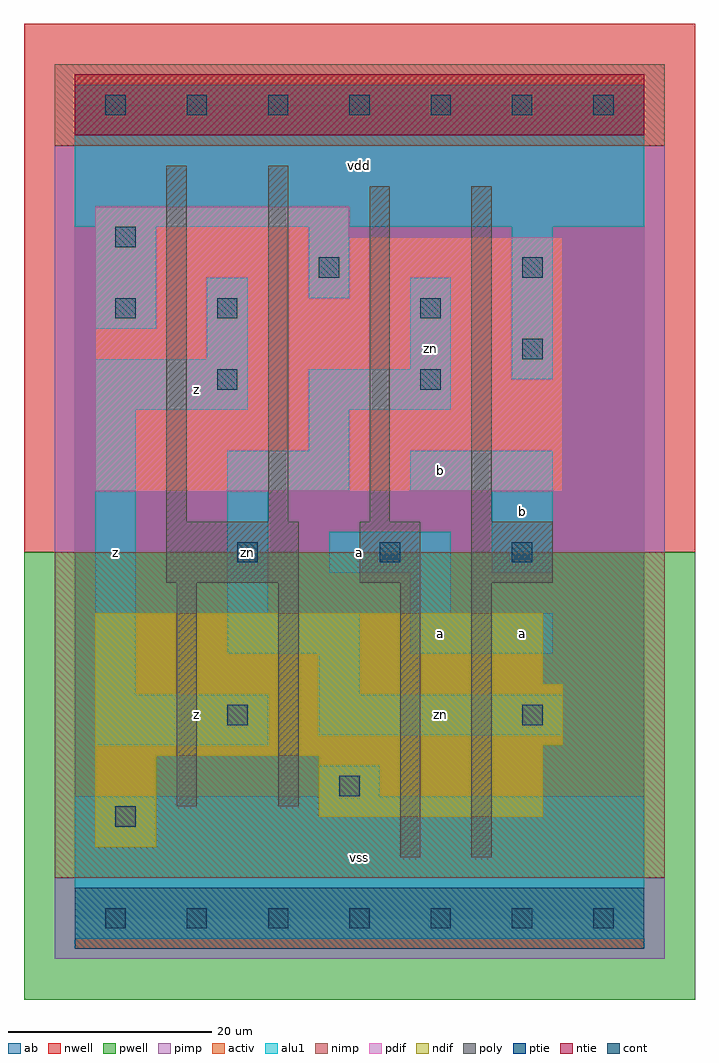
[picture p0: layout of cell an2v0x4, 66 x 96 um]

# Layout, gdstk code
import gdstk
lib = gdstk.Library(unit=1e-6, precision=1e-09)
def R(c, l, rs):  # rectangles x0, y0, x1, y1
    for r in rs: c.add(gdstk.rectangle(r[:2], r[2:], *l))
def A(c, l, x, y, w, h, nx, ny, dx, dy):  # array of equal rectangles
    R(c, l, [(x+i*dx, y+j*dy, x+i*dx+w, y+j*dy+h) for i in range(nx) for j in range(ny)])
ndif = (3, 0)
pdif = (4, 0)
ntie = (5, 0)
ptie = (6, 0)
cont = (25, 0)
pwell = (41, 0)
nwell = (42, 0)
activ = (43, 0)
pimp = (44, 0)
nimp = (45, 0)
poly = (46, 0)
alu1 = (49, 0)
ab = (63, 0)

an2v0x4 = lib.new_cell('an2v0x4')
R(an2v0x4, ndif, [(2,7,8,16), (24,10,46,16), (2,16,46,17), (2,17,48,23), (2,23,46,30)])
R(an2v0x4, pdif, [(2,42,48,67), (2,67,27,70)])
R(an2v0x4, ntie, [(0,77,56,83)])
R(an2v0x4, ptie, [(0,-3,56,3)])
A(an2v0x4, cont, 3, -1, 2, 2, 7, 2, 8, 80)
R(an2v0x4, cont, [(4,9,6,11), (26,12,28,14), (15,19,17,21), (44,19,46,21), (16,35,18,37), (30,35,32,37), (43,35,45,37), (14,52,16,54), (34,52,36,54), (44,55,46,57), (4,59,6,61), (14,59,16,61), (34,59,36,61), (24,63,26,65), (44,63,46,65), (4,66,6,68)])
R(an2v0x4, pwell, [(-5,-8,61,36)])
R(an2v0x4, nwell, [(-5,36,61,88)])
R(an2v0x4, activ, [(0,-3,56,3), (2,7,8,16), (24,10,46,16), (2,16,46,17), (2,17,48,23), (2,23,46,30), (2,42,48,67), (2,67,27,70), (0,77,56,83)])
R(an2v0x4, pimp, [(-2,-4,58,4), (-2,36,58,76)])
R(an2v0x4, nimp, [(-2,4,58,36), (-2,76,58,84)])
R(an2v0x4, poly, [(32,6,34,33), (39,6,41,33), (10,11,12,33), (20,11,22,33), (9,33,22,39), (28,33,34,39), (39,33,47,39), (9,39,11,74), (19,39,21,74), (29,39,31,72), (39,39,41,72)])
R(an2v0x4, alu1, [(0,-2,56,12), (24,12,30,15), (2,17,19,22), (24,18,48,22), (2,22,6,50), (24,22,28,26), (15,26,28,30), (33,26,47,30), (15,30,19,42), (33,30,37,34), (25,34,37,38), (41,34,47,42), (15,42,27,46), (33,42,47,46), (23,46,27,50), (2,50,17,55), (23,50,37,54), (43,53,47,68), (33,54,37,63), (13,55,17,63), (2,58,8,68), (23,61,27,68), (0,68,56,82)])
R(an2v0x4, ab, [(0,0,56,80)])
an2v0x4.add(gdstk.Label('zn', (17,36), layer=49, texttype=0))
an2v0x4.add(gdstk.Label('zn', (35,56), layer=49, texttype=0))
an2v0x4.add(gdstk.Label('zn', (36,20), layer=49, texttype=0))
an2v0x4.add(gdstk.Label('z', (4,36), layer=49, texttype=0))
an2v0x4.add(gdstk.Label('z', (12,20), layer=49, texttype=0))
an2v0x4.add(gdstk.Label('z', (12,52), layer=49, texttype=0))
an2v0x4.add(gdstk.Label('vss', (28,6), layer=49, texttype=0))
an2v0x4.add(gdstk.Label('a', (28,36), layer=49, texttype=0))
an2v0x4.add(gdstk.Label('a', (36,28), layer=49, texttype=0))
an2v0x4.add(gdstk.Label('b', (36,44), layer=49, texttype=0))
an2v0x4.add(gdstk.Label('vdd', (28,74), layer=49, texttype=0))
an2v0x4.add(gdstk.Label('a', (44,28), layer=49, texttype=0))
an2v0x4.add(gdstk.Label('b', (44,40), layer=49, texttype=0))

lib.write_gds('an2v0x4.gds')
